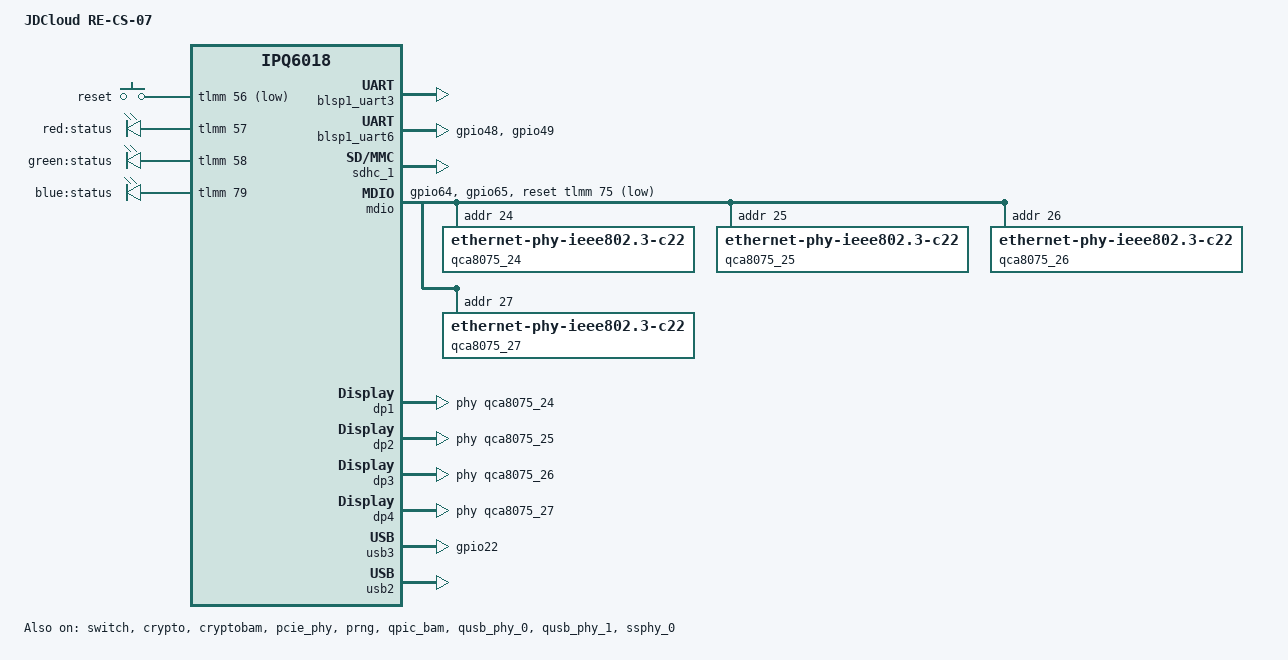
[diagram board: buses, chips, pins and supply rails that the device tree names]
// SPDX-License-Identifier: GPL-2.0-or-later OR MIT

/dts-v1/;

#include "ipq6018.dtsi"
#include "ipq6018-ess.dtsi"
#include "ipq6018-nss.dtsi"

#include <dt-bindings/gpio/gpio.h>
#include <dt-bindings/input/input.h>
#include <dt-bindings/leds/common.h>

/ {
	model = "JDCloud RE-CS-07";
	compatible = "jdcloud,re-cs-07", "qcom,ipq6018";

	aliases {
		serial0 = &blsp1_uart3;
		serial1 = &blsp1_uart6;
		led-boot = &led_status_blue;
		led-failsafe = &led_status_red;
		led-running = &led_status_green;
		led-upgrade = &led_status_red;

		ethernet0 = &dp1;
		ethernet1 = &dp2;
		ethernet2 = &dp3;
		ethernet3 = &dp4;
	};

	chosen {
		stdout-path = "serial0:115200n8";
	};

	keys {
		compatible = "gpio-keys";
		pinctrl-0 = <&button_pins>;
		pinctrl-names = "default";

		reset {
			label = "reset";
			linux,code = <KEY_RESTART>;
			gpios = <&tlmm 56 GPIO_ACTIVE_LOW>;
		};
	};

	leds {
		compatible = "gpio-leds";
		pinctrl-0 = <&leds_pins>;
		pinctrl-names = "default";

		led_status_red: red {
			label = "red:status";
			gpios = <&tlmm 57 GPIO_ACTIVE_HIGH>;
		};

		led_status_green: green {
			label = "green:status";
			gpios = <&tlmm 58 GPIO_ACTIVE_HIGH>;
		};

		led_status_blue: blue {
			label = "blue:status";
			gpios = <&tlmm 79 GPIO_ACTIVE_HIGH>;
		};
	};
};

&tlmm {
	gpio-reserved-ranges = <20 1>;

	button_pins: button-pins {
		mux {
			pins = "gpio56";
			function = "gpio";
			drive-strength = <8>;
			bias-pull-up;
		};
	};

	btuart_pins: btuart-pins {
		mux {
			pins = "gpio48", "gpio49";
			function = "blsp5_uart";
			drive-strength = <8>;
			bias-pull-up;
		};
	};

	leds_pins: leds-pins {
		mux {
			pins = "gpio57", "gpio58", "gpio79";
			function = "gpio";
			drive-strength = <8>;
			bias-pull-down;
		};
	};

	mdio_pins: mdio-pins {
		mdc {
			pins = "gpio64";
			function = "mdc";
			drive-strength = <8>;
			bias-pull-up;
		};

		mdio {
			pins = "gpio65";
			function = "mdio";
			drive-strength = <8>;
			bias-pull-up;
		};
	};

	usb_pwr_pins: usb-pwr-pins {
		mux {
			pins = "gpio22";
			function = "gpio";
			bias-pull-down;
			output-high;
		};
	};
};

&blsp1_uart3 {
	status = "okay";

	pinctrl-0 = <&serial_3_pins>;
	pinctrl-names = "default";
};

&blsp1_uart6 {
	status = "okay";

	pinctrl-0 = <&btuart_pins>;
	pinctrl-names = "default";
};

&sdhc_1 {
	status = "okay";

	/delete-property/ mmc-hs400-1_8v;
	mmc-ddr-1_8v;
	mmc-hs200-1_8v;
};

&mdio {
	status = "okay";

	pinctrl-0 = <&mdio_pins>;
	pinctrl-names = "default";
	reset-gpios = <&tlmm 75 GPIO_ACTIVE_LOW>;

	qca8075_24: ethernet-phy@24 {
		compatible = "ethernet-phy-ieee802.3-c22";
		reg = <24>;
	};

	qca8075_25: ethernet-phy@25 {
		compatible = "ethernet-phy-ieee802.3-c22";
		reg = <25>;
	};

	qca8075_26: ethernet-phy@26 {
		compatible = "ethernet-phy-ieee802.3-c22";
		reg = <26>;
	};

	qca8075_27: ethernet-phy@27 {
		compatible = "ethernet-phy-ieee802.3-c22";
		reg = <27>;
	};
};

&switch {
	status = "okay";

	switch_lan_bmp = <(ESS_PORT2 | ESS_PORT3 | ESS_PORT4)>;
	switch_wan_bmp = <ESS_PORT1>;
	switch_mac_mode = <MAC_MODE_PSGMII>;
	switch_mac_mode1 = <MAC_MODE_SGMII_CHANNEL0>;
	switch_mac_mode2 = <MAC_MODE_DISABLED>;

	qcom,port_phyinfo {
		port@1 {
			port_id = <1>;
			phy_address = <24>;
		};
		port@2 {
			port_id = <2>;
			phy_address = <25>;
		};
		port@3 {
			port_id = <3>;
			phy_address = <26>;
		};
		port@4 {
			port_id = <4>;
			phy_address = <27>;
		};
	};
};

&dp1 {
	status = "okay";
	phy-handle = <&qca8075_24>;
	label = "wan";
};

&dp2 {
	status = "okay";
	phy-handle = <&qca8075_25>;
	label = "lan1";
};

&dp3 {
	status = "okay";
	phy-handle = <&qca8075_26>;
	label = "lan2";
};

&dp4 {
	status = "okay";
	phy-handle = <&qca8075_27>;
	label = "lan3";
};

&usb3 {
	pinctrl-0 = <&usb_pwr_pins>;
	pinctrl-names = "default";
	status = "okay";
};

&edma {
	status = "okay";
};

&CPU0 {
	/delete-property/ cpu-supply;
};

&CPU1 {
	/delete-property/ cpu-supply;
};

&CPU2 {
	/delete-property/ cpu-supply;
};

&CPU3 {
	/delete-property/ cpu-supply;
};

&rpm {
	status = "disabled";
};

&crypto {
	status = "okay";
};

&cryptobam {
	status = "okay";
};

&pcie_phy {
	status = "okay";
};

&prng {
	status = "okay";
};

&qpic_bam {
	status = "okay";
};

&qusb_phy_0 {
	status = "okay";
};

&qusb_phy_1 {
	status = "okay";
};

&ssphy_0 {
	status = "okay";
};

&usb2 {
	status = "okay";
};

&usb3 {
	status = "okay";
};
